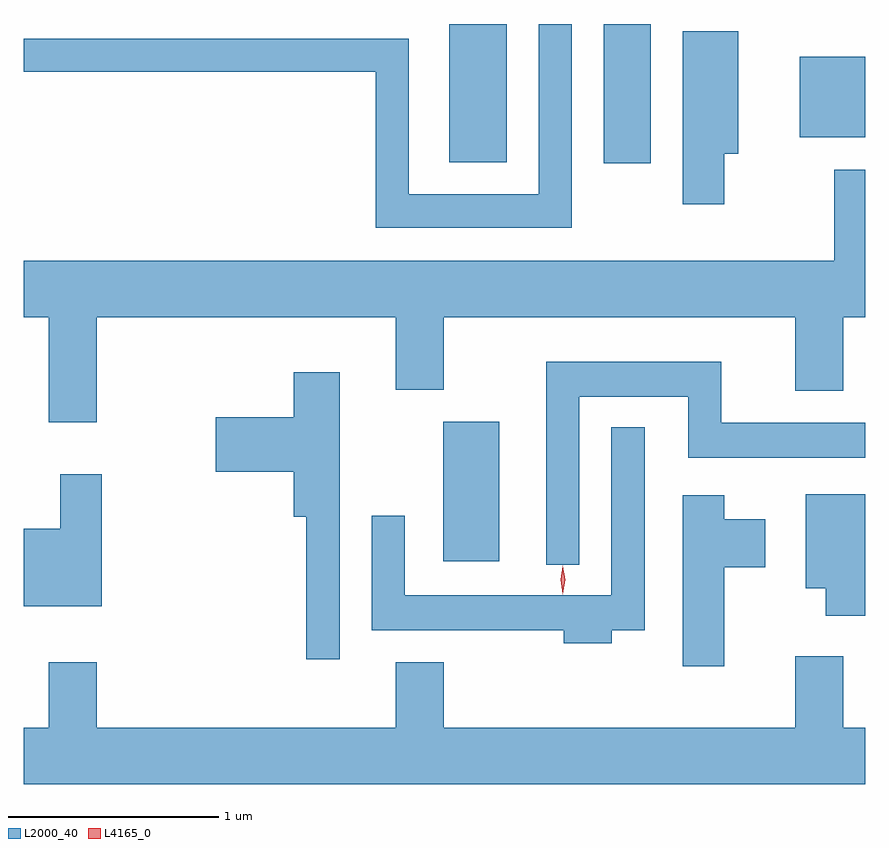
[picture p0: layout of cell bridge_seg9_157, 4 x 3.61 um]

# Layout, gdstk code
import gdstk
lib = gdstk.Library(unit=1e-6, precision=1e-09)
def R(c, l, rs):  # rectangles x0, y0, x1, y1
    for r in rs: c.add(gdstk.rectangle(r[:2], r[2:], *l))
def P(c, l, *ps):  # polygons
    for p in ps: c.add(gdstk.Polygon(p, *l))
L2000_40 = (2000, 40)
L4165_0 = (4165, 0)

bridge_seg9_157 = lib.new_cell('bridge_seg9_157')
R(bridge_seg9_157, L2000_40, [(1411.106,2077.236,1411.374,2077.899), (1411.871,2079.126,1412.094,2079.789), (1411.136,2079.131,1411.409,2079.789), (1412.801,2079.251,1413.113,2079.634)])
P(bridge_seg9_157, L2000_40, [(1411.719,2079.789),(1411.561,2079.789),(1411.561,2078.979),(1410.944,2078.979),(1410.944,2079.719),(1409.113,2079.719),(1409.113,2079.561),(1410.786,2079.561),(1410.786,2078.821),(1411.719,2078.821)],
  [(1412.444,2079.171),(1412.509,2079.171),(1412.509,2079.754),(1412.246,2079.754),(1412.246,2078.931),(1412.444,2078.931)],
  [(1409.459,2078.396),(1410.881,2078.396),(1410.881,2078.051),(1411.109,2078.051),(1411.109,2078.396),(1412.781,2078.396),(1412.781,2078.046),(1413.009,2078.046),(1413.009,2078.396),(1413.113,2078.396),(1413.113,2079.097),(1412.966,2079.097),(1412.966,2078.664),(1409.113,2078.664),(1409.113,2078.396),(1409.231,2078.396),(1409.231,2077.896),(1409.459,2077.896)],
  [(1411.754,2078.016),(1412.271,2078.016),(1412.271,2077.726),(1413.113,2077.726),(1413.113,2077.894),(1412.429,2077.894),(1412.429,2078.184),(1411.596,2078.184),(1411.596,2077.218),(1411.754,2077.218)],
  [(1410.614,2078.134),(1410.396,2078.134),(1410.396,2077.919),(1410.026,2077.919),(1410.026,2077.661),(1410.396,2077.661),(1410.396,2077.446),(1410.456,2077.446),(1410.456,2076.768),(1410.614,2076.768)],
  [(1411.909,2076.906),(1412.064,2076.906),(1412.064,2077.873),(1411.906,2077.873),(1411.906,2077.074),(1410.924,2077.074),(1410.924,2077.452),(1410.766,2077.452),(1410.766,2076.906),(1411.681,2076.906),(1411.681,2076.846),(1411.909,2076.846)],
  [(1409.484,2077.649),(1409.286,2077.649),(1409.286,2077.389),(1409.113,2077.389),(1409.113,2077.021),(1409.484,2077.021)],
  [(1413.113,2077.554),(1412.831,2077.554),(1412.831,2077.106),(1412.926,2077.106),(1412.926,2076.976),(1413.113,2076.976)],
  [(1412.444,2077.206),(1412.639,2077.206),(1412.639,2077.434),(1412.444,2077.434),(1412.444,2077.549),(1412.246,2077.549),(1412.246,2076.736),(1412.444,2076.736)],
  [(1413.113,2076.444),(1413.009,2076.444),(1413.009,2076.784),(1412.781,2076.784),(1412.781,2076.444),(1411.109,2076.444),(1411.109,2076.754),(1410.881,2076.754),(1410.881,2076.444),(1409.459,2076.444),(1409.459,2076.754),(1409.231,2076.754),(1409.231,2076.444),(1409.113,2076.444),(1409.113,2076.176),(1413.113,2076.176)])
P(bridge_seg9_157, L4165_0, [(1411.676,2077.079),(1411.676,2077.08),(1411.666,2077.146),(1411.675,2077.212),(1411.676,2077.213),(1411.676,2077.212),(1411.686,2077.146),(1411.676,2077.08)])

lib.write_gds('bridge_seg9_157.gds')
